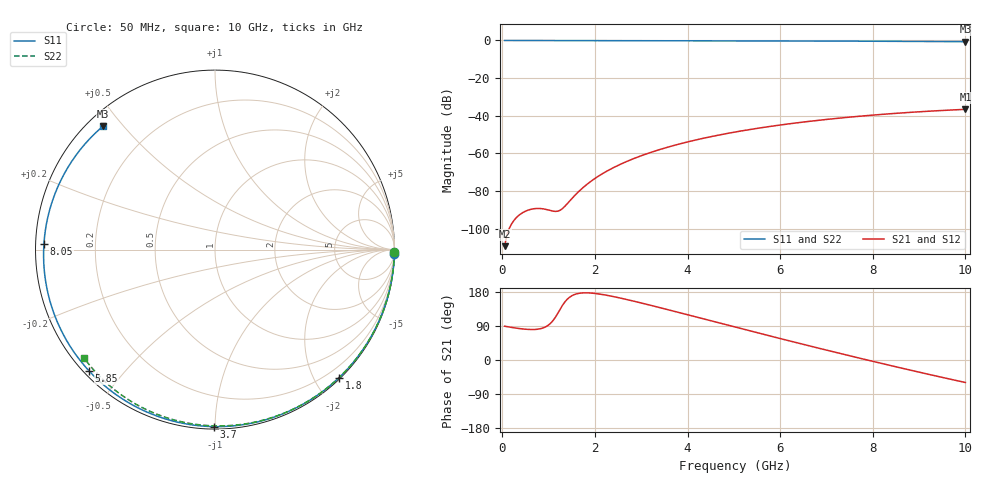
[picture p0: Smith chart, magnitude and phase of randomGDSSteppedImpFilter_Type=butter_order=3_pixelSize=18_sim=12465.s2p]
! freq	dB(S11)	phase(S11)	dB(S12)	phase(S12)
!  dB(S21)	phase(S21)	dB(S22)	phase(S22)
!S-par simulation data
#  GHz  S  DB  R 50
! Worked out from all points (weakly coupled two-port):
!   200 points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, 50 MHz to 10 GHz, reference 50 ohm
!   highest |S21| = -36.62 dB at 10 GHz (marker M1); lowest = -109.3 dB at 50 MHz (marker M2)
!   lowest |S11| = -0.6 dB at 10 GHz (marker M3), VSWR 27.02, Z = 2.21 + j22.2 ohm
!   |S11| at or under -10 dB: nowhere
!   |S22| runs from -0.5 to 0.0 dB; largest |S21 - S12| = 0
!   S11 on the Smith chart (normalised r, x): 50 MHz: 0, -87; 1.8 GHz: 0.02, -2.36; 3.7 GHz: 0.01, -0.99; 5.85 GHz: 0.02, -0.40; 8.05 GHz: 0.02, +0.02; 10 GHz: 0.04, +0.44
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0.05  -0.00 -1.3  -109.35 89.2  -109.35 89.2  -0.00 -0.8
0.4  -0.01 -10.4  -92.17 82.5  -92.17 82.5  -0.01 -6.5
0.8  -0.03 -20.7  -89.31 82.0  -89.31 82.0  -0.02 -12.9
1.2  -0.04 -30.9  -90.74 123.5  -90.74 123.5  -0.02 -19.3
1.65  -0.05 -42.2  -80.31 175.8  -80.31 175.8  -0.03 -26.5
1.75  -0.06 -44.7  -78.07 177.1  -78.07 177.1  -0.04 -28.0
1.8  -0.06 -45.9  -77.04 177.3  -77.04 177.3  -0.04 -28.8
2.1  -0.07 -53.2  -71.76 174.0  -71.76 174.0  -0.04 -33.5
2.45  -0.08 -61.7  -67.00 166.1  -67.00 166.1  -0.05 -38.9
2.9  -0.09 -72.2  -62.20 153.5  -62.20 153.5  -0.06 -45.8
3.4  -0.11 -83.7  -57.98 138.3  -57.98 138.3  -0.07 -53.3
3.7  -0.12 -90.4  -55.85 128.9  -55.85 128.9  -0.08 -57.7
4.35  -0.15 -104.6  -51.95 108.4  -51.95 108.4  -0.10 -67.2
5.05  -0.18 -119.5  -48.57 86.2  -48.57 86.2  -0.12 -77.0
5.85  -0.23 -136.1  -45.46 61.2  -45.46 61.2  -0.15 -88.0
6.7  -0.29 -153.6  -42.80 35.2  -42.80 35.2  -0.19 -99.2
7.4  -0.35 -168.1  -40.99 14.1  -40.99 14.1  -0.24 -108.2
8.05  -0.41 178.0  -39.58 -5.0  -39.58 -5.0  -0.28 -116.4
8.35  -0.44 171.4  -39.00 -13.7  -39.00 -13.7  -0.31 -120.1
8.8  -0.50 161.2  -38.23 -26.5  -38.23 -26.5  -0.35 -125.7
9.2  -0.54 151.9  -37.62 -37.7  -37.62 -37.7  -0.39 -130.7
10  -0.64 132.1  -36.62 -59.3  -36.62 -59.3  -0.48 -140.6
